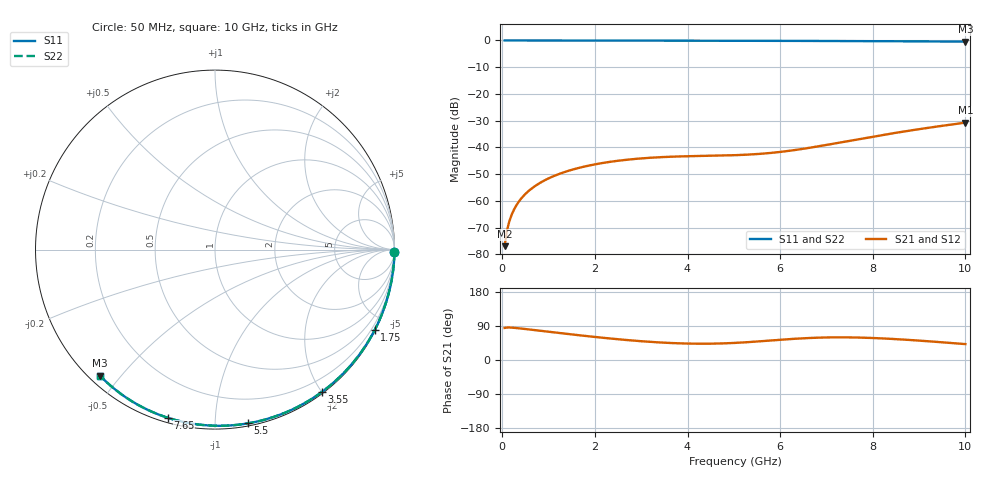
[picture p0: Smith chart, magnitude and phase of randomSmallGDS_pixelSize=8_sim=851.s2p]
! freq	dB(S11)	phase(S11)	dB(S12)	phase(S12)
!  dB(S21)	phase(S21)	dB(S22)	phase(S22)
!S-par simulation data
#  GHz  S  DB  R 50
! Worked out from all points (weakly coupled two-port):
!   200 points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, 50 MHz to 10 GHz, reference 50 ohm
!   highest |S21| = -30.74 dB at 10 GHz (marker M1); lowest = -76.9 dB at 50 MHz (marker M2)
!   lowest |S11| = -0.4 dB at 10 GHz (marker M3), VSWR 39.53, Z = 1.51 - j22 ohm
!   |S11| at or under -10 dB: nowhere
!   |S22| runs from -0.4 to 0.0 dB; largest |S21 - S12| = 0
!   S11 on the Smith chart (normalised r, x): 50 MHz: open; 1.75 GHz: 0.04, -4.20; 3.55 GHz: 0.02, -2.01; 5.5 GHz: 0.02, -1.21; 7.65 GHz: 0.02, -0.76; 10 GHz: 0.03, -0.44
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0.05  -0.00 -0.8  -76.93 84.6  -76.93 84.6  -0.00 -0.8
0.1  -0.00 -1.6  -71.19 85.6  -71.19 85.6  -0.00 -1.6
0.15  -0.00 -2.3  -67.73 85.7  -67.73 85.7  -0.00 -2.3
0.2  -0.00 -3.1  -65.26 85.4  -65.26 85.4  -0.00 -3.1
0.25  -0.00 -3.9  -63.34 85.0  -63.34 85.0  -0.00 -3.9
0.35  -0.00 -5.4  -60.45 83.8  -60.45 83.8  -0.00 -5.4
0.5  -0.01 -7.8  -57.39 81.8  -57.39 81.8  -0.01 -7.8
0.7  -0.01 -10.8  -54.53 78.9  -54.53 78.9  -0.01 -10.8
1  -0.02 -15.4  -51.57 74.6  -51.57 74.6  -0.02 -15.4
1.35  -0.03 -20.7  -49.18 69.6  -49.18 69.6  -0.03 -20.7
1.75  -0.03 -26.8  -47.25 64.1  -47.25 64.1  -0.03 -26.8
2.5  -0.05 -37.9  -44.98 54.7  -44.98 54.7  -0.05 -37.9
3.4  -0.07 -50.8  -43.66 46.3  -43.66 46.3  -0.07 -50.8
3.55  -0.07 -53.0  -43.54 45.4  -43.54 45.4  -0.07 -53.0
4.3  -0.09 -63.4  -43.18 42.9  -43.18 42.9  -0.09 -63.4
5.05  -0.11 -73.4  -42.88 45.3  -42.88 45.3  -0.11 -73.4
5.5  -0.13 -79.3  -42.49 48.8  -42.49 48.8  -0.13 -79.3
6.05  -0.15 -86.3  -41.59 53.8  -41.59 53.8  -0.15 -86.3
6.7  -0.18 -94.3  -39.95 58.4  -39.95 58.4  -0.18 -94.3
7.65  -0.24 -105.7  -37.05 59.3  -37.05 59.3  -0.24 -105.7
8.35  -0.29 -113.8  -34.95 56.1  -34.95 56.1  -0.29 -113.8
10  -0.44 -132.4  -30.74 42.0  -30.74 42.0  -0.44 -132.4
